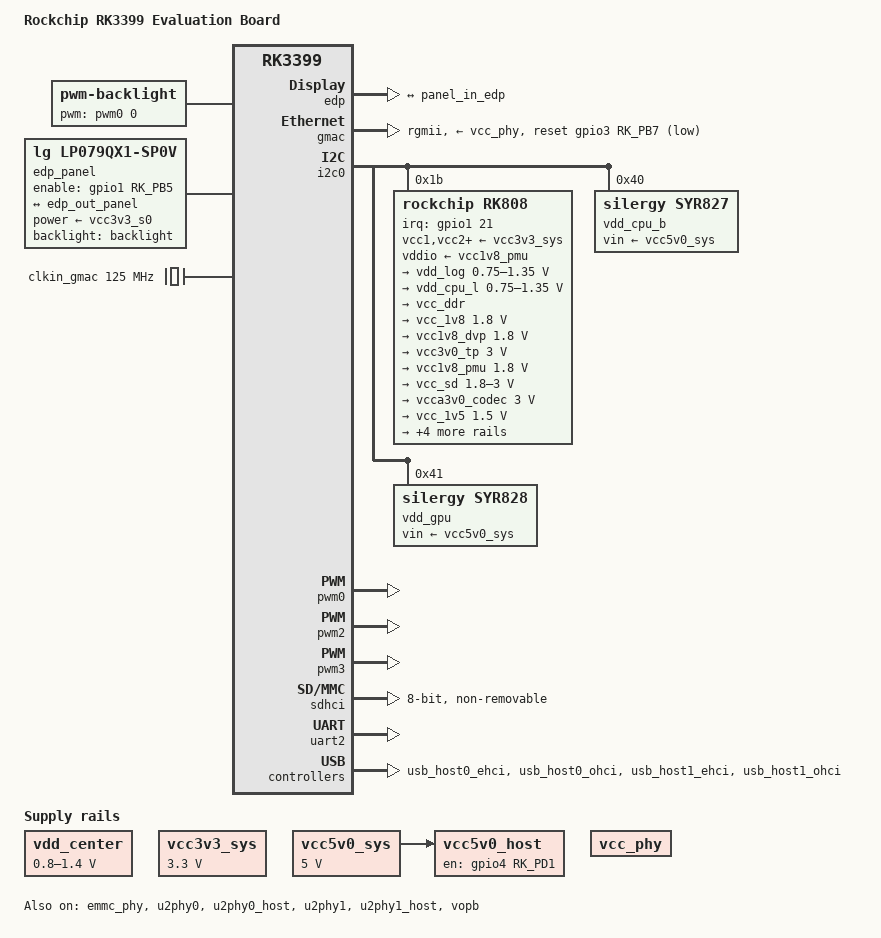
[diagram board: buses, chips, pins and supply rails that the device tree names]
// SPDX-License-Identifier: (GPL-2.0+ OR MIT)
/*
 * Copyright (c) 2016 Fuzhou Rockchip Electronics Co., Ltd
 */

/dts-v1/;
#include <dt-bindings/pwm/pwm.h>
#include "rk3399.dtsi"

/ {
	model = "Rockchip RK3399 Evaluation Board";
	compatible = "rockchip,rk3399-evb", "rockchip,rk3399";

	backlight: backlight {
		compatible = "pwm-backlight";
		brightness-levels = <
			  0   1   2   3   4   5   6   7
			  8   9  10  11  12  13  14  15
			 16  17  18  19  20  21  22  23
			 24  25  26  27  28  29  30  31
			 32  33  34  35  36  37  38  39
			 40  41  42  43  44  45  46  47
			 48  49  50  51  52  53  54  55
			 56  57  58  59  60  61  62  63
			 64  65  66  67  68  69  70  71
			 72  73  74  75  76  77  78  79
			 80  81  82  83  84  85  86  87
			 88  89  90  91  92  93  94  95
			 96  97  98  99 100 101 102 103
			104 105 106 107 108 109 110 111
			112 113 114 115 116 117 118 119
			120 121 122 123 124 125 126 127
			128 129 130 131 132 133 134 135
			136 137 138 139 140 141 142 143
			144 145 146 147 148 149 150 151
			152 153 154 155 156 157 158 159
			160 161 162 163 164 165 166 167
			168 169 170 171 172 173 174 175
			176 177 178 179 180 181 182 183
			184 185 186 187 188 189 190 191
			192 193 194 195 196 197 198 199
			200 201 202 203 204 205 206 207
			208 209 210 211 212 213 214 215
			216 217 218 219 220 221 222 223
			224 225 226 227 228 229 230 231
			232 233 234 235 236 237 238 239
			240 241 242 243 244 245 246 247
			248 249 250 251 252 253 254 255>;
		default-brightness-level = <200>;
		pwms = <&pwm0 0 25000 0>;
	};

	edp_panel: edp-panel {
		compatible ="lg,lp079qx1-sp0v";
		backlight = <&backlight>;
		enable-gpios = <&gpio1 RK_PB5 GPIO_ACTIVE_HIGH>;
		power-supply = <&vcc3v3_s0>;

		port {
			panel_in_edp: endpoint {
				remote-endpoint = <&edp_out_panel>;
			};
		};
	};

	clkin_gmac: external-gmac-clock {
		compatible = "fixed-clock";
		clock-frequency = <125000000>;
		clock-output-names = "clkin_gmac";
		#clock-cells = <0>;
	};

	vdd_center: vdd-center {
		compatible = "pwm-regulator";
		pwms = <&pwm3 0 25000 0>;
		regulator-name = "vdd_center";
		regulator-min-microvolt = <800000>;
		regulator-max-microvolt = <1400000>;
		regulator-always-on;
		regulator-boot-on;
		status = "okay";
	};

	vcc3v3_sys: vcc3v3-sys {
		compatible = "regulator-fixed";
		regulator-name = "vcc3v3_sys";
		regulator-always-on;
		regulator-boot-on;
		regulator-min-microvolt = <3300000>;
		regulator-max-microvolt = <3300000>;
	};

	vcc5v0_sys: vcc5v0-sys {
		compatible = "regulator-fixed";
		regulator-name = "vcc5v0_sys";
		regulator-always-on;
		regulator-boot-on;
		regulator-min-microvolt = <5000000>;
		regulator-max-microvolt = <5000000>;
	};

	vcc5v0_host: vcc5v0-host-regulator {
		compatible = "regulator-fixed";
		enable-active-high;
		gpio = <&gpio4 RK_PD1 GPIO_ACTIVE_HIGH>;
		pinctrl-names = "default";
		pinctrl-0 = <&vcc5v0_host_en>;
		regulator-name = "vcc5v0_host";
		vin-supply = <&vcc5v0_sys>;
	};

	vcc_phy: vcc-phy-regulator {
		compatible = "regulator-fixed";
		regulator-name = "vcc_phy";
		regulator-always-on;
		regulator-boot-on;
	};

	vcc_phy: vcc-phy-regulator {
		compatible = "regulator-fixed";
		regulator-name = "vcc_phy";
		regulator-always-on;
		regulator-boot-on;
	};

};

&edp {
	status = "okay";
	force-hpd;

	ports {
		edp_out: port@1 {
			reg = <1>;
			#address-cells = <1>;
			#size-cells = <0>;

			edp_out_panel: endpoint@0 {
				reg = <0>;
				remote-endpoint = <&panel_in_edp>;
			};
		};
	};
};

&emmc_phy {
	status = "okay";
};

&gmac {
	assigned-clocks = <&cru SCLK_RMII_SRC>;
	assigned-clock-parents = <&clkin_gmac>;
	clock_in_out = "input";
	phy-supply = <&vcc_phy>;
	phy-mode = "rgmii";
	pinctrl-names = "default";
	pinctrl-0 = <&rgmii_pins>;
	snps,reset-gpio = <&gpio3 RK_PB7 GPIO_ACTIVE_LOW>;
	snps,reset-active-low;
	snps,reset-delays-us = <0 10000 50000>;
	tx_delay = <0x28>;
	rx_delay = <0x11>;
	status = "okay";
};

&i2c0 {
	status = "okay";

	rk808: pmic@1b {
		compatible = "rockchip,rk808";
		reg = <0x1b>;
		interrupt-parent = <&gpio1>;
		interrupts = <21 IRQ_TYPE_LEVEL_LOW>;
		pinctrl-names = "default";
		pinctrl-0 = <&pmic_int_l>;
		rockchip,system-power-controller;
		wakeup-source;
		#clock-cells = <1>;
		clock-output-names = "rk808-clkout1", "rk808-clkout2";

		vcc1-supply = <&vcc3v3_sys>;
		vcc2-supply = <&vcc3v3_sys>;
		vcc3-supply = <&vcc3v3_sys>;
		vcc4-supply = <&vcc3v3_sys>;
		vcc6-supply = <&vcc3v3_sys>;
		vcc7-supply = <&vcc3v3_sys>;
		vcc8-supply = <&vcc3v3_sys>;
		vcc9-supply = <&vcc3v3_sys>;
		vcc10-supply = <&vcc3v3_sys>;
		vcc11-supply = <&vcc3v3_sys>;
		vcc12-supply = <&vcc3v3_sys>;
		vddio-supply = <&vcc1v8_pmu>;

		regulators {
			vdd_log: DCDC_REG1 {
				regulator-name = "vdd_log";
				regulator-min-microvolt = <750000>;
				regulator-max-microvolt = <1350000>;
				regulator-ramp-delay = <6001>;
				regulator-always-on;
				regulator-boot-on;
				regulator-state-mem {
					regulator-on-in-suspend;
					regulator-suspend-microvolt = <900000>;
				};
			};

			vdd_cpu_l: DCDC_REG2 {
				regulator-name = "vdd_cpu_l";
				regulator-min-microvolt = <750000>;
				regulator-max-microvolt = <1350000>;
				regulator-ramp-delay = <6001>;
				regulator-always-on;
				regulator-boot-on;
				regulator-state-mem {
					regulator-off-in-suspend;
				};
			};

			vcc_ddr: DCDC_REG3 {
				regulator-name = "vcc_ddr";
				regulator-always-on;
				regulator-boot-on;
				regulator-state-mem {
					regulator-on-in-suspend;
				};
			};

			vcc_1v8: DCDC_REG4 {
				regulator-name = "vcc_1v8";
				regulator-min-microvolt = <1800000>;
				regulator-max-microvolt = <1800000>;
				regulator-always-on;
				regulator-boot-on;
				regulator-state-mem {
					regulator-on-in-suspend;
					regulator-suspend-microvolt = <1800000>;
				};
			};

			vcc1v8_dvp: LDO_REG1 {
				regulator-name = "vcc1v8_dvp";
				regulator-min-microvolt = <1800000>;
				regulator-max-microvolt = <1800000>;
				regulator-always-on;
				regulator-boot-on;
				regulator-state-mem {
					regulator-off-in-suspend;
				};
			};

			vcc3v0_tp: LDO_REG2 {
				regulator-name = "vcc3v0_tp";
				regulator-min-microvolt = <3000000>;
				regulator-max-microvolt = <3000000>;
				regulator-always-on;
				regulator-boot-on;
				regulator-state-mem {
					regulator-off-in-suspend;
				};
			};

			vcc1v8_pmu: LDO_REG3 {
				regulator-name = "vcc1v8_pmu";
				regulator-min-microvolt = <1800000>;
				regulator-max-microvolt = <1800000>;
				regulator-always-on;
				regulator-boot-on;
				regulator-state-mem {
					regulator-on-in-suspend;
					regulator-suspend-microvolt = <1800000>;
				};
			};

			vcc_sd: LDO_REG4 {
				regulator-name = "vcc_sd";
				regulator-min-microvolt = <1800000>;
				regulator-max-microvolt = <3000000>;
				regulator-always-on;
				regulator-boot-on;
				regulator-state-mem {
					regulator-on-in-suspend;
					regulator-suspend-microvolt = <3000000>;
				};
			};

			vcca3v0_codec: LDO_REG5 {
				regulator-name = "vcca3v0_codec";
				regulator-min-microvolt = <3000000>;
				regulator-max-microvolt = <3000000>;
				regulator-always-on;
				regulator-boot-on;
				regulator-state-mem {
					regulator-off-in-suspend;
				};
			};

			vcc_1v5: LDO_REG6 {
				regulator-name = "vcc_1v5";
				regulator-min-microvolt = <1500000>;
				regulator-max-microvolt = <1500000>;
				regulator-always-on;
				regulator-boot-on;
				regulator-state-mem {
					regulator-on-in-suspend;
					regulator-suspend-microvolt = <1500000>;
				};
			};

			vcca1v8_codec: LDO_REG7 {
				regulator-name = "vcca1v8_codec";
				regulator-min-microvolt = <1800000>;
				regulator-max-microvolt = <1800000>;
				regulator-always-on;
				regulator-boot-on;
				regulator-state-mem {
					regulator-off-in-suspend;
				};
			};

			vcc_3v0: LDO_REG8 {
				regulator-name = "vcc_3v0";
				regulator-min-microvolt = <3000000>;
				regulator-max-microvolt = <3000000>;
				regulator-always-on;
				regulator-boot-on;
				regulator-state-mem {
					regulator-on-in-suspend;
					regulator-suspend-microvolt = <3000000>;
				};
			};

			vcc3v3_s3: SWITCH_REG1 {
				regulator-name = "vcc3v3_s3";
				regulator-always-on;
				regulator-boot-on;
				regulator-state-mem {
					regulator-on-in-suspend;
				};
			};

			vcc3v3_s0: SWITCH_REG2 {
				regulator-name = "vcc3v3_s0";
				regulator-always-on;
				regulator-boot-on;
				regulator-state-mem {
					regulator-off-in-suspend;
				};
			};
		};
	};

	vdd_cpu_b: regulator@40 {
		compatible = "silergy,syr827";
		reg = <0x40>;
		fcs,suspend-voltage-selector = <1>;
		regulator-name = "vdd_cpu_b";
		regulator-min-microvolt = <712500>;
		regulator-max-microvolt = <1500000>;
		regulator-ramp-delay = <1000>;
		regulator-always-on;
		regulator-boot-on;
		vin-supply = <&vcc5v0_sys>;

		regulator-state-mem {
			regulator-off-in-suspend;
		};
	};

	vdd_gpu: regulator@41 {
		compatible = "silergy,syr828";
		reg = <0x41>;
		fcs,suspend-voltage-selector = <1>;
		regulator-name = "vdd_gpu";
		regulator-min-microvolt = <712500>;
		regulator-max-microvolt = <1500000>;
		regulator-ramp-delay = <1000>;
		regulator-always-on;
		regulator-boot-on;
		vin-supply = <&vcc5v0_sys>;

		regulator-state-mem {
			regulator-off-in-suspend;
		};
	};
};

&pwm0 {
	status = "okay";
};

&pwm2 {
	status = "okay";
};

&pwm3 {
	status = "okay";
};

&sdhci {
	bus-width = <8>;
	mmc-hs400-1_8v;
	mmc-hs400-enhanced-strobe;
	non-removable;
	status = "okay";
};

&pcie_phy {
	status = "disabled";
};

&pcie0 {
	ep-gpios = <&gpio3 RK_PB5 GPIO_ACTIVE_HIGH>;
	num-lanes = <4>;
	pinctrl-names = "default";
	pinctrl-0 = <&pcie_clkreqn_cpm>;
	status = "disabled";
};

&u2phy0 {
	status = "okay";
};

&u2phy0_host {
	phy-supply = <&vcc5v0_host>;
	status = "okay";
};

&u2phy1 {
	status = "okay";
};

&u2phy1_host {
	phy-supply = <&vcc5v0_host>;
	status = "okay";
};

&uart2 {
	status = "okay";
};

&usb_host0_ehci {
	status = "okay";
};

&usb_host0_ohci {
	status = "okay";
};

&usb_host1_ehci {
	status = "okay";
};

&usb_host1_ohci {
	status = "okay";
};

&pinctrl {
	pmic {
		pmic_int_l: pmic-int-l {
			rockchip,pins =
				<1 RK_PC5 RK_FUNC_GPIO &pcfg_pull_up>;
		};
	};

	usb2 {
		vcc5v0_host_en: vcc5v0-host-en {
			rockchip,pins =
				<4 RK_PD1 RK_FUNC_GPIO &pcfg_pull_none>;
		};
	};
};

&vopb {
	status = "okay";
};

&vopb_mmu {
	status = "okay";
};
